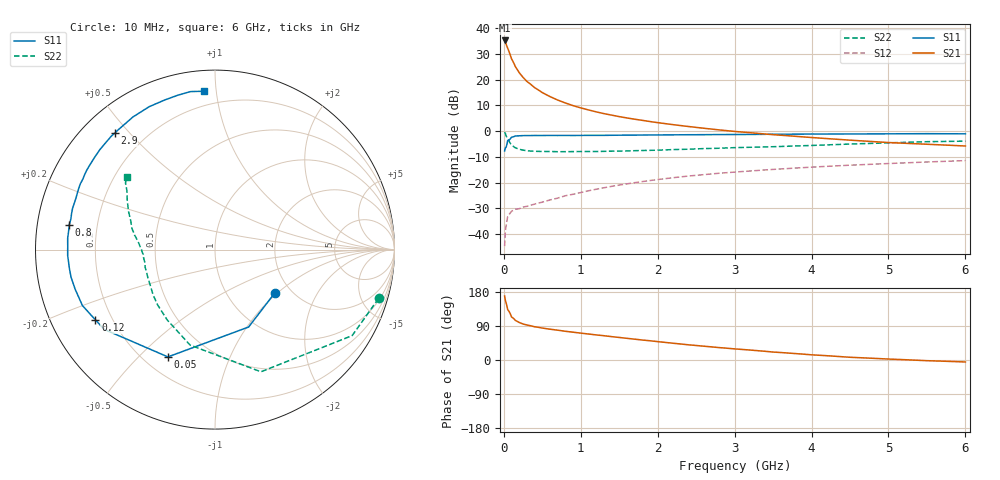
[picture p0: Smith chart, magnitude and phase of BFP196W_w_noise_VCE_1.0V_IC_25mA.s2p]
! Infineon Technologies  Discrete & RF Semiconductors
! BFP196W
! VCE =  1.0 V,  IC =  25 mA
! Common Emitter S-Parameters:  Jan 2017
# GHz  S  MA  R  50
!  f  S11  S21  S12  S22
! GHz  MAG  ANG  MAG  ANG  MAG  ANG  MAG  ANG
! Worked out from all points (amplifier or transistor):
!   77 points, 10 MHz to 6 GHz, reference 50 ohm
!   highest |S21| = 35.2 dB at 10 MHz (marker M1)
!   |S21| within 3 dB of that: start of sweep to 49.73 MHz
!   unconditionally stable (mu >= 1): 830.2 MHz to 3.854 GHz
!   at 130 MHz: K = 0.30, MSG = 28.5 dB, |S12| = -30.7 dB
!   at 2.2 GHz: K = 1.06, MAG = 8.8 dB, |S12| = -18.1 dB
!   at 6 GHz: K = 0.98, MSG = 2.8 dB, |S12| = -11.5 dB
!   lowest NFmin = 1.07 dB at 450 MHz
!   S11 on the Smith chart (normalised r, x): 10 MHz: 1.66, -0.96; 50 MHz: 0.29, -0.61; 120 MHz: 0.14, -0.27; 800 MHz: 0.10, +0.08; 2.9 GHz: 0.09, +0.45; 6 GHz: 0.11, +0.92
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0.01  0.4114 -35.8  57.7 168.9  0.0058 79.1  0.9515 -16.6
0.02  0.4702 -66.5  54.21 157.1  0.0114 72.2  0.9018 -32.1
0.05  0.6529 -113.7  40.76 132.9  0.0218 48.4  0.7272 -69.4
0.1  0.7611 -144.3  25.37 113.6  0.0277 36.4  0.5497 -104.6
0.12  0.7727 -149.6  22.32 110.7  0.0287 34.5  0.5121 -111.8
0.15  0.8018 -157.1  17.91 104.5  0.0302 32.0  0.4735 -124.3
0.2  0.8097 -164.2  13.66 99.0  0.031 32.5  0.4438 -136.2
0.25  0.8166 -169.1  11.04 95.0  0.0334 33.2  0.4267 -144.1
0.3  0.818 -172.6  9.231 92.3  0.0345 34.9  0.414 -149.9
0.4  0.8215 -177.8  6.984 87.7  0.0381 38.9  0.4054 -157.3
0.5  0.8208 178.7  5.597 84.3  0.0416 42.0  0.4015 -162.2
0.6  0.8233 175.6  4.68 81.3  0.0459 45.2  0.4014 -165.8
0.7  0.822 172.9  4.011 78.7  0.0498 47.8  0.3975 -168.4
0.8  0.8236 170.4  3.516 75.8  0.0554 50.1  0.3977 -170.2
1.1  0.8262 163.8  2.577 68.6  0.0692 53.0  0.4006 -175.0
1.5  0.8322 155.8  1.91 59.5  0.0893 53.8  0.4086 -179.8
2.1  0.843 144.3  1.395 46.4  0.1192 51.6  0.4312 174.2
2.9  0.8566 130.8  1.019 31.1  0.1556 45.9  0.4704 166.9
3.1  0.8589 127.7  0.957 27.8  0.1636 44.4  0.4807 164.8
4.1  0.8764 113.4  0.732 12.5  0.2028 36.5  0.5323 155.1
5.1  0.8855 102.6  0.59 1.7  0.2373 28.8  0.5967 145.6
6  0.8847 94.1  0.513 -5.2  0.2669 22.0  0.6378 140.6
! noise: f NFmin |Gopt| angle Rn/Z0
0.45  1.07  0.43  175  0.05
0.9  1.24  0.51  -179  0.06
1.9  2.11  0.68  -152  0.12
2.4  2.53  0.74  -146  0.21
